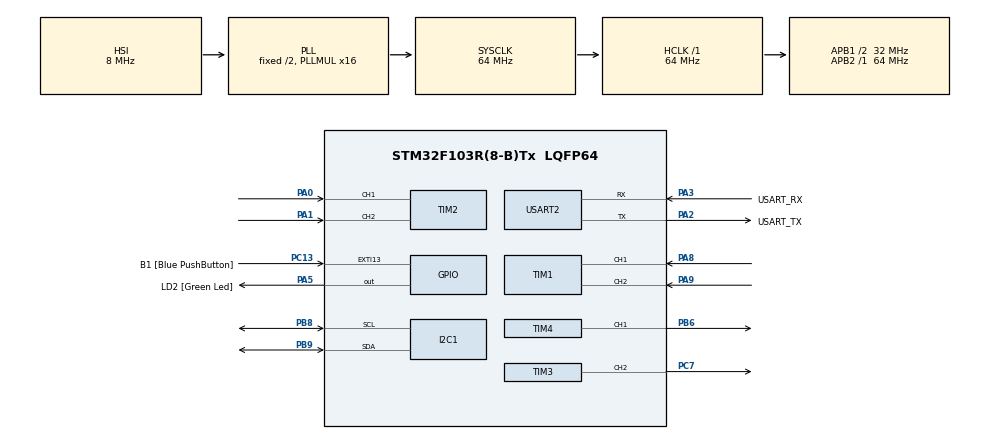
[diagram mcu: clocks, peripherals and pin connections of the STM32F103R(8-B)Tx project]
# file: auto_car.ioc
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Mcu.Family=STM32F1
Mcu.Name=STM32F103R(8-B)Tx
Mcu.Package=LQFP64
NVIC.EXTI15_10_IRQn=true\:0\:0\:false\:false\:true\:true\:true\:true
NVIC.PriorityGroup=NVIC_PRIORITYGROUP_4
NVIC.USART2_IRQn=true\:1\:0\:true\:false\:true\:true\:true\:true
PA0-WKUP.Signal=S_TIM2_CH1_ETR
PA1.Signal=S_TIM2_CH2
PA13.GPIO_Label=TMS
PA13.Mode=Serial_Wire
PA13.Signal=SYS_JTMS-SWDIO
PA14.GPIO_Label=TCK
PA14.Mode=Serial_Wire
PA14.Signal=SYS_JTCK-SWCLK
PA2.GPIO_Label=USART_TX
PA2.GPIO_Mode=GPIO_MODE_AF_PP
PA2.GPIO_Speed=GPIO_SPEED_FREQ_HIGH
PA2.Mode=Asynchronous
PA2.Signal=USART2_TX
PA3.GPIO_Label=USART_RX
PA3.GPIO_Mode=GPIO_MODE_INPUT
PA3.GPIO_PuPd=GPIO_NOPULL
PA3.GPIO_Speed=GPIO_SPEED_FREQ_LOW
PA3.Mode=Asynchronous
PA3.Signal=USART2_RX
PA5.GPIO_Label=LD2 [Green Led]
PA5.GPIO_ModeDefaultOutputPP=GPIO_MODE_OUTPUT_PP
PA5.GPIO_PuPd=GPIO_NOPULL
PA5.GPIO_Speed=GPIO_SPEED_FREQ_LOW
PA5.Signal=GPIO_Output
PA8.Signal=S_TIM1_CH1
PA9.Signal=S_TIM1_CH2
PB3.GPIO_Label=SWO
PB3.Signal=SYS_JTDO-TRACESWO
PB6.Signal=S_TIM4_CH1
PB8.Mode=I2C
PB8.Signal=I2C1_SCL
PB9.Mode=I2C
PB9.Signal=I2C1_SDA
PC13-TAMPER-RTC.GPIO_Label=B1 [Blue PushButton]
PC13-TAMPER-RTC.GPIO_PuPd=GPIO_NOPULL
PC13-TAMPER-RTC.Signal=GPXTI13
PC14-OSC32_IN.Mode=LSE-External-Oscillator
PC14-OSC32_IN.Signal=RCC_OSC32_IN
PC15-OSC32_OUT.Mode=LSE-External-Oscillator
PC15-OSC32_OUT.Signal=RCC_OSC32_OUT
PC7.Signal=S_TIM3_CH2
PD0-OSC_IN.Mode=HSE-External-Clock-Source
PD0-OSC_IN.Signal=RCC_OSC_IN
PD1-OSC_OUT.Mode=HSE-External-Clock-Source
PD1-OSC_OUT.Signal=RCC_OSC_OUT
ProjectManager.HeapSize=0x200
ProjectManager.StackSize=0x400
ProjectManager.TargetToolchain=MDK-ARM V5.32
RCC.AHBFreq_Value=64000000
RCC.APB1CLKDivider=RCC_HCLK_DIV2
RCC.APB1Freq_Value=32000000
RCC.APB1TimFreq_Value=64000000
RCC.APB2Freq_Value=64000000
RCC.APB2TimFreq_Value=64000000
RCC.HCLKFreq_Value=64000000
RCC.PLLMUL=RCC_PLL_MUL16
RCC.RTCClockSelection=RCC_RTCCLKSOURCE_LSE
RCC.SYSCLKFreq_VALUE=64000000
RCC.SYSCLKSource=RCC_SYSCLKSOURCE_PLLCLK
RCC.USBFreq_Value=64000000
SH.S_TIM1_CH1.0=TIM1_CH1,Encoder_Interface
SH.S_TIM1_CH2.0=TIM1_CH2,Encoder_Interface
SH.S_TIM2_CH1_ETR.0=TIM2_CH1,Encoder_Interface
SH.S_TIM2_CH2.0=TIM2_CH2,Encoder_Interface
SH.S_TIM3_CH2.0=TIM3_CH2,PWM Generation2 CH2
SH.S_TIM4_CH1.0=TIM4_CH1,PWM Generation1 CH1
TIM1.EncoderMode=TIM_ENCODERMODE_TI12
TIM2.EncoderMode=TIM_ENCODERMODE_TI12
TIM3.Channel-PWM\ Generation2\ CH2=TIM_CHANNEL_2
TIM3.Period=19999
TIM3.Prescaler=63
TIM3.Pulse-PWM\ Generation2\ CH2=1500
TIM4.Channel-PWM\ Generation1\ CH1=TIM_CHANNEL_1
TIM4.Period=19999
TIM4.Prescaler=63
TIM4.Pulse-PWM\ Generation1\ CH1=1500
USART2.VirtualMode=VM_ASYNC
board=NUCLEO-F103RB

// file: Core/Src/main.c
/* USER CODE BEGIN Header */
/**
  ******************************************************************************
  * @file           : main.c
  * @brief          : Main program body
  ******************************************************************************
  * @attention
  *
  * Copyright (c) 2026 STMicroelectronics.
  * All rights reserved.
  *
  * This software is licensed under terms that can be found in the LICENSE file
  * in the root directory of this software component.
  * If no LICENSE file comes with this software, it is provided AS-IS.
  *
  ******************************************************************************
  */
/* USER CODE END Header */
#include "main.h"

/* USER CODE BEGIN Includes */
#include "stdio.h"
#include "stdlib.h"
#include "string.h"
#include "math.h"
#include "encoder.h"
/* USER CODE END Includes */

/* USER CODE BEGIN PD */
#define ESC_STOP_PULSE_US       1500U
#define SERVO_CENTER_PULSE_US   1500U
#define ESC_MIN_PULSE_US        1300U
#define ESC_MAX_PULSE_US        1700U
#define SERVO_MIN_PULSE_US      1000U
#define SERVO_MAX_PULSE_US      2000U
#define MAX_STEP_PULSE_US       50U
#define BENCH_TIMEOUT_MS        3000U

#define BNO055_I2C_ADDRESS_7BIT  0x28U
#define BNO055_CHIP_ID_REGISTER  0x00U

#define BMP280_I2C_ADDRESS_7BIT  0x76U
#define BMP280_CHIP_ID_REGISTER  0xD0U

#define BNO055_OPR_MODE_REGISTER  0x3DU
#define BNO055_CONFIG_MODE        0x00U
#define BNO055_NDOF_MODE          0x0CU

#define BNO055_EULER_DATA_REGISTER  0x1AU
#define BNO055_EULER_SCALE           16L
#define IMU_OUTPUT_PERIOD_MS         200U

#define BNO055_CALIB_STAT_REGISTER  0x35U
#define CALIB_OUTPUT_PERIOD_MS      1000U

#define BNO055_SYS_STATUS_REGISTER  0x39U
#define BNO055_SYS_ERR_REGISTER     0x3AU

/* Contact-wheel spacing from the supplied encoder project; measure on car. */
#define ODOM_TRACK_WIDTH_M          0.202f
#define ODOM_PI_F                   3.14159265359f
/* USER CODE END PD */

I2C_HandleTypeDef hi2c1;

TIM_HandleTypeDef htim3;
TIM_HandleTypeDef htim4;
TIM_HandleTypeDef htim1;
TIM_HandleTypeDef htim2;

UART_HandleTypeDef huart2;

/* USER CODE BEGIN PV */

static const uint8_t pong_message[] = "PONG\n";

static uint8_t uart_rx_byte = 0U;
static uint8_t uart_line_buffer[32];
static volatile uint8_t uart_line_length = 0U;
static volatile uint8_t uart_line_ready = 0U;
static uint32_t last_led_tick = 0U;

static volatile uint8_t stop_requested = 0U;
static uint8_t bench_command_active = 0U;
static uint32_t last_bench_command_tick = 0U;
static uint16_t current_esc_us = ESC_STOP_PULSE_US;
static uint16_t current_servo_us = SERVO_CENTER_PULSE_US;
static uint8_t imu_stream_enabled = 1U;

static uint32_t last_imu_tick = 0U;

static uint32_t last_calib_tick = 0U;

volatile float robot_x_m = 0.0f;
volatile float robot_y_m = 0.0f;
volatile float robot_theta_rad = 0.0f;
volatile float robot_theta_deg = 0.0f;
volatile float robot_theta_total_deg = 0.0f;
volatile float robot_v_mps = 0.0f;
volatile float robot_omega_rad_s = 0.0f;
static float odom_last_left_m = 0.0f;
static float odom_last_right_m = 0.0f;

/* USER CODE END PV */

void SystemClock_Config(void);
static void MX_GPIO_Init(void);
static void MX_USART2_UART_Init(void);
static void MX_TIM3_Init(void);
static void MX_TIM4_Init(void);
static void MX_I2C1_Init(void);
static void MX_TIM1_Init(void);
static void MX_TIM2_Init(void);
/* USER CODE BEGIN PFP */
static void I2C_Scan(void);
static void Sensor_ReadChipIds(void);
static void BNO055_EnableNDOF(void);
static void BNO055_PrintEuler(void);
static void BNO055_PrintCalibration(void);
static void BNO055_PrintDiagnostics(void);
static void UART_SendString(const char *str);
static void Bench_SetSafeNeutral(void);
static void Bench_PrintStatus(void);
static void Bench_PrintHelp(void);
static void Bench_ProcessCommand(void);
static void Bench_PrintOdometry(void);
static void Odometry_Update(void);
/* USER CODE END PFP */

/* USER CODE BEGIN 0 */
static void BNO055_PrintDiagnostics(void)
{
    static const uint8_t read_error[] =
        "BNO055 DIAGNOSTIC READ ERROR\r\n";

    uint8_t system_data[2];
    uint8_t operation_mode = 0U;
    char message[80];
    int message_length;

    if (HAL_I2C_Mem_Read(
            &hi2c1,
            (uint16_t)(BNO055_I2C_ADDRESS_7BIT << 1U),
            BNO055_SYS_STATUS_REGISTER,
            I2C_MEMADD_SIZE_8BIT,
            system_data,
            2U,
            100U) != HAL_OK)
    {
        (void)HAL_UART_Transmit(
            &huart2,
            (uint8_t *)read_error,
            (uint16_t)(sizeof(read_error) - 1U),
            100U);
        return;
    }

    if (HAL_I2C_Mem_Read(
            &hi2c1,
            (uint16_t)(BNO055_I2C_ADDRESS_7BIT << 1U),
            BNO055_OPR_MODE_REGISTER,
            I2C_MEMADD_SIZE_8BIT,
            &operation_mode,
            1U,
            100U) != HAL_OK)
    {
        (void)HAL_UART_Transmit(
            &huart2,
            (uint8_t *)read_error,
            (uint16_t)(sizeof(read_error) - 1U),
            100U);
        return;
    }

    message_length = snprintf(
        message,
        sizeof(message),
        "MODE=0x%02X SYS_STATUS=%u SYS_ERR=0x%02X\r\n",
        (unsigned int)operation_mode,
        (unsigned int)system_data[0],
        (unsigned int)system_data[1]);

    if ((message_length > 0) &&
        (message_length < (int)sizeof(message)))
    {
        (void)HAL_UART_Transmit(
            &huart2,
            (uint8_t *)message,
            (uint16_t)message_length,
            100U);
    }
}

static void I2C_Scan(void)
{
    static const uint8_t hex_digits[] = "0123456789ABCDEF";
    static const uint8_t done_message[] = "I2C SCAN DONE\r\n";
    static const uint8_t none_message[] = "I2C DEVICE NOT FOUND\r\n";

    uint8_t message[] = "I2C 0x00\r\n";
    uint8_t device_found = 0U;
    uint16_t address;

    for (address = 0x08U; address <= 0x77U; address++)
    {
        if (HAL_I2C_IsDeviceReady(
                &hi2c1,
                (uint16_t)(address << 1U),
                2U,
                20U) == HAL_OK)
        {
            device_found = 1U;

            message[6] = hex_digits[(address >> 4U) & 0x0FU];
            message[7] = hex_digits[address & 0x0FU];

            (void)HAL_UART_Transmit(
                &huart2,
                message,
                (uint16_t)(sizeof(message) - 1U),
                100U);
        }
    }

    if (device_found != 0U)
    {
        (void)HAL_UART_Transmit(
            &huart2,
            done_message,
            (uint16_t)(sizeof(done_message) - 1U),
            100U);
    }
    else
    {
        (void)HAL_UART_Transmit(
            &huart2,
            none_message,
            (uint16_t)(sizeof(none_message) - 1U),
            100U);
    }
}

static void Sensor_ReadChipIds(void)
{
    static const uint8_t hex_digits[] = "0123456789ABCDEF";
    static const uint8_t bno_error[] = "BNO055 READ ERROR\r\n";
    static const uint8_t bmp_error[] = "BMP280 READ ERROR\r\n";

    uint8_t bno_message[] = "BNO055 ID: 0x00\r\n";
    uint8_t bmp_message[] = "BMP280 ID: 0x00\r\n";
    uint8_t chip_id = 0U;

    if (HAL_I2C_Mem_Read(
            &hi2c1,
            (uint16_t)(BNO055_I2C_ADDRESS_7BIT << 1U),
            BNO055_CHIP_ID_REGISTER,
            I2C_MEMADD_SIZE_8BIT,
            &chip_id,
            1U,
            100U) == HAL_OK)
    {
        bno_message[13] = hex_digits[(chip_id >> 4U) & 0x0FU];
        bno_message[14] = hex_digits[chip_id & 0x0FU];

        (void)HAL_UART_Transmit(
            &huart2,
            bno_message,
            (uint16_t)(sizeof(bno_message) - 1U),
            100U);
    }
    else
    {
        (void)HAL_UART_Transmit(
            &huart2,
            bno_error,
            (uint16_t)(sizeof(bno_error) - 1U),
            100U);
    }

    chip_id = 0U;

    if (HAL_I2C_Mem_Read(
            &hi2c1,
            (uint16_t)(BMP280_I2C_ADDRESS_7BIT << 1U),
            BMP280_CHIP_ID_REGISTER,
            I2C_MEMADD_SIZE_8BIT,
            &chip_id,
            1U,
            100U) == HAL_OK)
    {
        bmp_message[13] = hex_digits[(chip_id >> 4U) & 0x0FU];
        bmp_message[14] = hex_digits[chip_id & 0x0FU];

        (void)HAL_UART_Transmit(
            &huart2,
            bmp_message,
            (uint16_t)(sizeof(bmp_message) - 1U),
            100U);
    }
    else
    {
        (void)HAL_UART_Transmit(
            &huart2,
            bmp_error,
            (uint16_t)(sizeof(bmp_error) - 1U),
            100U);
    }
}

static void BNO055_EnableNDOF(void)
{
    static const uint8_t hex_digits[] = "0123456789ABCDEF";
    static const uint8_t write_error[] = "BNO055 MODE WRITE ERROR\r\n";
    static const uint8_t read_error[] = "BNO055 MODE READ ERROR\r\n";

    uint8_t message[] = "BNO055 MODE: 0x00\r\n";
    uint8_t mode = BNO055_CONFIG_MODE;

    if (HAL_I2C_Mem_Write(
            &hi2c1,
            (uint16_t)(BNO055_I2C_ADDRESS_7BIT << 1U),
            BNO055_OPR_MODE_REGISTER,
            I2C_MEMADD_SIZE_8BIT,
            &mode,
            1U,
            100U) != HAL_OK)
    {
        (void)HAL_UART_Transmit(
            &huart2,
            write_error,
            (uint16_t)(sizeof(write_error) - 1U),
            100U);
        return;
    }

    HAL_Delay(20U);

    mode = BNO055_NDOF_MODE;

    if (HAL_I2C_Mem_Write(
            &hi2c1,
            (uint16_t)(BNO055_I2C_ADDRESS_7BIT << 1U),
            BNO055_OPR_MODE_REGISTER,
            I2C_MEMADD_SIZE_8BIT,
            &mode,
            1U,
            100U) != HAL_OK)
    {
        (void)HAL_UART_Transmit(
            &huart2,
            write_error,
            (uint16_t)(sizeof(write_error) - 1U),
            100U);
        return;
    }

    HAL_Delay(10U);

    mode = 0U;

    if (HAL_I2C_Mem_Read(
            &hi2c1,
            (uint16_t)(BNO055_I2C_ADDRESS_7BIT << 1U),
            BNO055_OPR_MODE_REGISTER,
            I2C_MEMADD_SIZE_8BIT,
            &mode,
            1U,
            100U) == HAL_OK)
    {
        message[15] = hex_digits[(mode >> 4U) & 0x0FU];
        message[16] = hex_digits[mode & 0x0FU];

        (void)HAL_UART_Transmit(
            &huart2,
            message,
            (uint16_t)(sizeof(message) - 1U),
            100U);
    }
    else
    {
        (void)HAL_UART_Transmit(
            &huart2,
            read_error,
            (uint16_t)(sizeof(read_error) - 1U),
            100U);
    }
}

static void BNO055_PrintEuler(void)
{
    static const uint8_t read_error[] = "BNO055 EULER READ ERROR\r\n";

    uint8_t data[6];
    int16_t heading_raw;
    int16_t roll_raw;
    int16_t pitch_raw;

    int32_t heading_cdeg;
    int32_t roll_cdeg;
    int32_t pitch_cdeg;

    char message[80];
    int message_length;

    if (HAL_I2C_Mem_Read(
            &hi2c1,
            (uint16_t)(BNO055_I2C_ADDRESS_7BIT << 1U),
            BNO055_EULER_DATA_REGISTER,
            I2C_MEMADD_SIZE_8BIT,
            data,
            6U,
            100U) != HAL_OK)
    {
        (void)HAL_UART_Transmit(
            &huart2,
            (uint8_t *)read_error,
            (uint16_t)(sizeof(read_error) - 1U),
            100U);
        return;
    }

    heading_raw = (int16_t)(
        ((uint16_t)data[1] << 8U) |
        (uint16_t)data[0]);

    roll_raw = (int16_t)(
        ((uint16_t)data[3] << 8U) |
        (uint16_t)data[2]);

    pitch_raw = (int16_t)(
        ((uint16_t)data[5] << 8U) |
        (uint16_t)data[4]);

    /*
     * BNO055 produces 16 LSB per degree.
     * Convert to centidegrees:
     * 12345 means 123.45 degrees.
     */
    heading_cdeg =
        ((int32_t)heading_raw * 100L) / BNO055_EULER_SCALE;

    roll_cdeg =
        ((int32_t)roll_raw * 100L) / BNO055_EULER_SCALE;

    pitch_cdeg =
        ((int32_t)pitch_raw * 100L) / BNO055_EULER_SCALE;

    message_length = snprintf(
        message,
        sizeof(message),
        "H_cdeg=%ld R_cdeg=%ld P_cdeg=%ld\r\n",
        (long)heading_cdeg,
        (long)roll_cdeg,
        (long)pitch_cdeg);

    if ((message_length > 0) &&
        (message_length < (int)sizeof(message)))
    {
        (void)HAL_UART_Transmit(
            &huart2,
            (uint8_t *)message,
            (uint16_t)message_length,
            100U);
    }
}

void HAL_GPIO_EXTI_Callback(uint16_t GPIO_Pin)
{
    if (GPIO_Pin == B1_Pin)
    {
        stop_requested = 1U;
    }
}

void HAL_UART_RxCpltCallback(UART_HandleTypeDef *huart)
{
    if (huart->Instance == USART2)
    {
        if (uart_line_ready == 0U)
        {
            if (uart_rx_byte == (uint8_t)'\n')
            {
                uart_line_ready = 1U;
            }
            else if (uart_rx_byte != (uint8_t)'\r')
            {
                if (uart_line_length < (uint8_t)sizeof(uart_line_buffer))
                {
                    uart_line_buffer[uart_line_length] = uart_rx_byte;
                    uart_line_length++;
                }
                else
                {
                    uart_line_length = 0U;
                }
            }
        }

        if (HAL_UART_Receive_IT(&huart2, &uart_rx_byte, 1U) != HAL_OK)
        {
            Error_Handler();
        }
    }
}

static void BNO055_PrintCalibration(void)
{
    static const uint8_t read_error[] =
        "BNO055 CALIB READ ERROR\r\n";

    uint8_t calib_status = 0U;
    uint8_t system_status;
    uint8_t gyro_status;
    uint8_t accel_status;
    uint8_t mag_status;

    char message[64];
    int message_length;

    if (HAL_I2C_Mem_Read(
            &hi2c1,
            (uint16_t)(BNO055_I2C_ADDRESS_7BIT << 1U),
            BNO055_CALIB_STAT_REGISTER,
            I2C_MEMADD_SIZE_8BIT,
            &calib_status,
            1U,
            100U) != HAL_OK)
    {
        (void)HAL_UART_Transmit(
            &huart2,
            (uint8_t *)read_error,
            (uint16_t)(sizeof(read_error) - 1U),
            100U);
        return;
    }

    system_status = (calib_status >> 6U) & 0x03U;
    gyro_status   = (calib_status >> 4U) & 0x03U;
    accel_status  = (calib_status >> 2U) & 0x03U;
    mag_status    = calib_status & 0x03U;

    message_length = snprintf(
        message,
        sizeof(message),
        "CAL SYS=%u GYR=%u ACC=%u MAG=%u\r\n",
        (unsigned int)system_status,
        (unsigned int)gyro_status,
        (unsigned int)accel_status,
        (unsigned int)mag_status);

    if ((message_length > 0) &&
        (message_length < (int)sizeof(message)))
    {
        (void)HAL_UART_Transmit(
            &huart2,
            (uint8_t *)message,
            (uint16_t)message_length,
            100U);
    }
}

static void UART_SendString(const char *str)
{
    if (str != NULL)
    {
        (void)HAL_UART_Transmit(
            &huart2,
            (uint8_t *)str,
            (uint16_t)strlen(str),
            100U);
    }
}

static void Bench_SetSafeNeutral(void)
{
    current_esc_us = ESC_STOP_PULSE_US;
    current_servo_us = SERVO_CENTER_PULSE_US;
    bench_command_active = 0U;

    __HAL_TIM_SET_COMPARE(&htim4, TIM_CHANNEL_1, ESC_STOP_PULSE_US);
    __HAL_TIM_SET_COMPARE(&htim3, TIM_CHANNEL_2, SERVO_CENTER_PULSE_US);
}

static void Bench_PrintStatus(void)
{
    char message[96];
    int len = snprintf(
        message,
        sizeof(message),
        "STATUS ARMED=%u ESC_US=%u SERVO_US=%u STREAM=%u TIMEOUT_MS=%u\r\n",
        (unsigned int)bench_command_active,
        (unsigned int)current_esc_us,
        (unsigned int)current_servo_us,
        (unsigned int)imu_stream_enabled,
        (unsigned int)BENCH_TIMEOUT_MS);

    if ((len > 0) && (len < (int)sizeof(message)))
    {
        (void)HAL_UART_Transmit(&huart2, (uint8_t *)message, (uint16_t)len, 100U);
    }
}

static void Odometry_Update(void)
{
    float left_m = encoder_left.distance_m;
    float right_m = encoder_right.distance_m;
    float dL = left_m - odom_last_left_m;
    float dR = right_m - odom_last_right_m;
    float ds;
    float dtheta;
    float theta_mid;

    odom_last_left_m = left_m;
    odom_last_right_m = right_m;
    robot_v_mps = (encoder_left.speed_mps + encoder_right.speed_mps) * 0.5f;
    robot_omega_rad_s = (encoder_right.speed_mps - encoder_left.speed_mps) /
                        ODOM_TRACK_WIDTH_M;
    if (dL == 0.0f && dR == 0.0f)
        return;

    ds = (dL + dR) * 0.5f;
    dtheta = (dR - dL) / ODOM_TRACK_WIDTH_M;
    theta_mid = robot_theta_rad + dtheta * 0.5f;
    robot_x_m += ds * cosf(theta_mid);
    robot_y_m += ds * sinf(theta_mid);
    robot_theta_total_deg += dtheta * 180.0f / ODOM_PI_F;
    robot_theta_rad += dtheta;
    while (robot_theta_rad > ODOM_PI_F)
        robot_theta_rad -= 2.0f * ODOM_PI_F;
    while (robot_theta_rad <= -ODOM_PI_F)
        robot_theta_rad += 2.0f * ODOM_PI_F;
    robot_theta_deg = robot_theta_rad * 180.0f / ODOM_PI_F;
}

static void Bench_PrintOdometry(void)
{
    char message[180];
    int message_length = snprintf(
        message, sizeof(message),
        "ODOM L_MMPS=%ld R_MMPS=%ld L_MM=%ld R_MM=%ld X_MM=%ld Y_MM=%ld HEADING_CDEG=%ld TOTAL_CDEG=%ld\r\n",
        (long)(encoder_left.speed_mps * 1000.0f),
        (long)(encoder_right.speed_mps * 1000.0f),
        (long)(encoder_left.distance_m * 1000.0f),
        (long)(encoder_right.distance_m * 1000.0f),
        (long)(robot_x_m * 1000.0f),
        (long)(robot_y_m * 1000.0f),
        (long)(robot_theta_deg * 100.0f),
        (long)(robot_theta_total_deg * 100.0f));
    if ((message_length > 0) && (message_length < (int)sizeof(message)))
        UART_SendString(message);
}

static void Bench_PrintHelp(void)
{
    UART_SendString(
        "BENCH COMMANDS:\r\n"
        "ARM             enable one short test sequence\r\n"
        "ESC <1300..1700> max 50 us change per command\r\n"
        "SERVO <1000..2000> max 50 us change per command\r\n"
        "CENTER          ESC and servo to 1500 us, disarm\r\n"
        "STOP            same as CENTER; always accepted\r\n"
        "STATUS           print current state\r\n"
        "ODOM             print wheel speeds and odometry\r\n"
        "STREAM ON|OFF    enable or mute IMU messages\r\n"
        "HELP             print this list\r\n"
        "Timeout: outputs return to 1500 us after 3000 ms.\r\n");
}

static void Bench_ProcessCommand(void)
{
    char cmd[32];
    uint8_t len = uart_line_length;

    if (len >= sizeof(cmd))
    {
        len = (uint8_t)(sizeof(cmd) - 1U);
    }
    memcpy(cmd, (const void *)uart_line_buffer, len);
    cmd[len] = '\0';

    if (strcmp(cmd, "PING") == 0)
    {
        (void)HAL_UART_Transmit(
            &huart2,
            (uint8_t *)pong_message,
            (uint16_t)(sizeof(pong_message) - 1U),
            100U);
    }
    else if (strcmp(cmd, "HELP") == 0)
    {
        Bench_PrintHelp();
    }
    else if (strcmp(cmd, "STATUS") == 0)
    {
        Bench_PrintStatus();
    }
    else if (strcmp(cmd, "ODOM") == 0)
    {
        Bench_PrintOdometry();
    }
    else if ((strcmp(cmd, "STOP") == 0) || (strcmp(cmd, "CENTER") == 0))
    {
        Bench_SetSafeNeutral();
        UART_SendString("OK SAFE ESC=1500 SERVO=1500 DISARMED\r\n");
    }
    else if (strcmp(cmd, "STREAM ON") == 0)
    {
        imu_stream_enabled = 1U;
        UART_SendString("OK STREAM=1\r\n");
    }
    else if (strcmp(cmd, "STREAM OFF") == 0)
    {
        imu_stream_enabled = 0U;
        UART_SendString("OK STREAM=0\r\n");
    }
    else if (strcmp(cmd, "ARM") == 0)
    {
        if ((current_esc_us != ESC_STOP_PULSE_US) ||
            (current_servo_us != SERVO_CENTER_PULSE_US))
        {
            UART_SendString("ERR CENTER FIRST\r\n");
        }
        else
        {
            bench_command_active = 1U;
            last_bench_command_tick = HAL_GetTick();
            UART_SendString("OK ARMED FOR 3000 ms\r\n");
        }
    }
    else if (strncmp(cmd, "ESC ", 4U) == 0)
    {
        char *endptr = NULL;
        long target = strtol(&cmd[4], &endptr, 10);
        long diff;

        if (bench_command_active == 0U)
        {
            UART_SendString("ERR NOT ARMED\r\n");
        }
        else if ((endptr == &cmd[4]) || (*endptr != '\0') ||
                 (target < (long)ESC_MIN_PULSE_US) ||
                 (target > (long)ESC_MAX_PULSE_US))
        {
            UART_SendString("ERR ESC RANGE 1300..1700\r\n");
        }
        else
        {
            diff = target - (long)current_esc_us;
            if (diff < 0L)
            {
                diff = -diff;
            }
            if (diff > (long)MAX_STEP_PULSE_US)
            {
                UART_SendString("ERR ESC STEP MAX 50 us\r\n");
            }
            else
            {
                current_esc_us = (uint16_t)target;
                __HAL_TIM_SET_COMPARE(&htim4, TIM_CHANNEL_1, current_esc_us);
                last_bench_command_tick = HAL_GetTick();
                Bench_PrintStatus();
            }
        }
    }
    else if (strncmp(cmd, "SERVO ", 6U) == 0)
    {
        char *endptr = NULL;
        long target = strtol(&cmd[6], &endptr, 10);
        long diff;

        if (bench_command_active == 0U)
        {
            UART_SendString("ERR NOT ARMED\r\n");
        }
        else if ((endptr == &cmd[6]) || (*endptr != '\0') ||
                 (target < (long)SERVO_MIN_PULSE_US) ||
                 (target > (long)SERVO_MAX_PULSE_US))
        {
            UART_SendString("ERR SERVO RANGE 1000..2000\r\n");
        }
        else
        {
            diff = target - (long)current_servo_us;
            if (diff < 0L)
            {
                diff = -diff;
            }
            if (diff > (long)MAX_STEP_PULSE_US)
            {
                UART_SendString("ERR SERVO STEP MAX 50 us\r\n");
            }
            else
            {
                current_servo_us = (uint16_t)target;
                __HAL_TIM_SET_COMPARE(&htim3, TIM_CHANNEL_2, current_servo_us);
                last_bench_command_tick = HAL_GetTick();
                Bench_PrintStatus();
            }
        }
    }
    else if (len > 0U)
    {
        UART_SendString("ERR UNKNOWN; SEND HELP\r\n");
    }
}
/* USER CODE END 0 */

int main(void)
{

  /* MCU Configuration--------------------------------------------------------*/

  /* Reset of all peripherals, Initializes the Flash interface and the Systick. */
  HAL_Init();

  /* Configure the system clock */
  SystemClock_Config();

  /* Initialize all configured peripherals */
  MX_GPIO_Init();
  MX_USART2_UART_Init();
  MX_TIM3_Init();
  MX_TIM4_Init();
  MX_I2C1_Init();
  MX_TIM1_Init();
  MX_TIM2_Init();
  /* USER CODE BEGIN 2 */
  if (Encoder_Start(&encoder_left, &htim2, -1) != HAL_OK)
  {
    Error_Handler();
  }
  if (Encoder_Start(&encoder_right, &htim1, 1) != HAL_OK)
  {
    Error_Handler();
  }
	if (HAL_UART_Receive_IT(&huart2, &uart_rx_byte, 1U) != HAL_OK)
	{
    Error_Handler();
	}
	if (HAL_TIM_PWM_Start(&htim3, TIM_CHANNEL_2) != HAL_OK)
	{
    Error_Handler();
	}
  __HAL_TIM_SET_COMPARE(
    &htim3,
    TIM_CHANNEL_2,
    SERVO_CENTER_PULSE_US
  );

	HAL_Delay(700);
	I2C_Scan();
	Sensor_ReadChipIds();
	BNO055_EnableNDOF();

	if (HAL_TIM_PWM_Start(&htim4, TIM_CHANNEL_1) != HAL_OK)
	{
    Error_Handler();
	}
  __HAL_TIM_SET_COMPARE(
    &htim4,
    TIM_CHANNEL_1,
    ESC_STOP_PULSE_US
  );
  /* USER CODE END 2 */

  /* Infinite loop */
	while (1)
	{

    /* USER CODE BEGIN 3 */
    Encoder_Update(&encoder_left);
    Encoder_Update(&encoder_right);
    Odometry_Update();
		if (stop_requested != 0U)
		{
			Bench_SetSafeNeutral();
			stop_requested = 0U;
		}
		else if ((bench_command_active != 0U) &&
         ((HAL_GetTick() - last_bench_command_tick) >= BENCH_TIMEOUT_MS))
		{
			Bench_SetSafeNeutral();
		}

		if ((HAL_GetTick() - last_led_tick) >= 500U)
		{
			last_led_tick = HAL_GetTick();
			HAL_GPIO_TogglePin(LD2_GPIO_Port, LD2_Pin);
		}
		if ((imu_stream_enabled != 0U) &&
		    ((HAL_GetTick() - last_imu_tick) >= IMU_OUTPUT_PERIOD_MS))
		{
			last_imu_tick = HAL_GetTick();
			BNO055_PrintEuler();
		}

		if ((imu_stream_enabled != 0U) &&
		    ((HAL_GetTick() - last_calib_tick) >= CALIB_OUTPUT_PERIOD_MS))
		{
			last_calib_tick = HAL_GetTick();
			BNO055_PrintCalibration();
			BNO055_PrintDiagnostics();
		}

		if (uart_line_ready != 0U)
		{
			Bench_ProcessCommand();
			uart_line_length = 0U;
			uart_line_ready = 0U;
		}
  }
  /* USER CODE END 3 */
}

void SystemClock_Config(void)
{
  RCC_OscInitTypeDef RCC_OscInitStruct = {0};
  RCC_ClkInitTypeDef RCC_ClkInitStruct = {0};

  /** Initializes the RCC Oscillators according to the specified parameters
  * in the RCC_OscInitTypeDef structure.
  */
  RCC_OscInitStruct.OscillatorType = RCC_OSCILLATORTYPE_HSI;
  RCC_OscInitStruct.HSIState = RCC_HSI_ON;
  RCC_OscInitStruct.HSICalibrationValue = RCC_HSICALIBRATION_DEFAULT;
  RCC_OscInitStruct.PLL.PLLState = RCC_PLL_ON;
  RCC_OscInitStruct.PLL.PLLSource = RCC_PLLSOURCE_HSI_DIV2;
  RCC_OscInitStruct.PLL.PLLMUL = RCC_PLL_MUL16;
  if (HAL_RCC_OscConfig(&RCC_OscInitStruct) != HAL_OK)
  {
    Error_Handler();
  }

  /** Initializes the CPU, AHB and APB buses clocks
  */
  RCC_ClkInitStruct.ClockType = RCC_CLOCKTYPE_HCLK|RCC_CLOCKTYPE_SYSCLK
                              |RCC_CLOCKTYPE_PCLK1|RCC_CLOCKTYPE_PCLK2;
  RCC_ClkInitStruct.SYSCLKSource = RCC_SYSCLKSOURCE_PLLCLK;
  RCC_ClkInitStruct.AHBCLKDivider = RCC_SYSCLK_DIV1;
  RCC_ClkInitStruct.APB1CLKDivider = RCC_HCLK_DIV2;
  RCC_ClkInitStruct.APB2CLKDivider = RCC_HCLK_DIV1;

  if (HAL_RCC_ClockConfig(&RCC_ClkInitStruct, FLASH_LATENCY_2) != HAL_OK)
  {
    Error_Handler();
  }
}

static void MX_I2C1_Init(void)
{

  hi2c1.Instance = I2C1;
  hi2c1.Init.ClockSpeed = 100000;
  hi2c1.Init.DutyCycle = I2C_DUTYCYCLE_2;
  hi2c1.Init.OwnAddress1 = 0;
  hi2c1.Init.AddressingMode = I2C_ADDRESSINGMODE_7BIT;
  hi2c1.Init.DualAddressMode = I2C_DUALADDRESS_DISABLE;
  hi2c1.Init.OwnAddress2 = 0;
  hi2c1.Init.GeneralCallMode = I2C_GENERALCALL_DISABLE;
  hi2c1.Init.NoStretchMode = I2C_NOSTRETCH_DISABLE;
  if (HAL_I2C_Init(&hi2c1) != HAL_OK)
  {
    Error_Handler();
  }

}

static void MX_TIM1_Init(void)
{
  TIM_Encoder_InitTypeDef sConfig = {0};

  htim1.Instance = TIM1;
  htim1.Init.Prescaler = 0;
  htim1.Init.CounterMode = TIM_COUNTERMODE_UP;
  htim1.Init.Period = 65535;
  htim1.Init.ClockDivision = TIM_CLOCKDIVISION_DIV1;
  htim1.Init.AutoReloadPreload = TIM_AUTORELOAD_PRELOAD_DISABLE;
  sConfig.EncoderMode = TIM_ENCODERMODE_TI12;
  sConfig.IC1Polarity = TIM_ICPOLARITY_RISING;
  sConfig.IC1Selection = TIM_ICSELECTION_DIRECTTI;
  sConfig.IC1Prescaler = TIM_ICPSC_DIV1;
  sConfig.IC1Filter = 0;
  sConfig.IC2Polarity = TIM_ICPOLARITY_RISING;
  sConfig.IC2Selection = TIM_ICSELECTION_DIRECTTI;
  sConfig.IC2Prescaler = TIM_ICPSC_DIV1;
  sConfig.IC2Filter = 0;
  if (HAL_TIM_Encoder_Init(&htim1, &sConfig) != HAL_OK)
  {
    Error_Handler();
  }
}

static void MX_TIM2_Init(void)
{
  TIM_Encoder_InitTypeDef sConfig = {0};

  htim2.Instance = TIM2;
  htim2.Init.Prescaler = 0;
  htim2.Init.CounterMode = TIM_COUNTERMODE_UP;
  htim2.Init.Period = 65535;
  htim2.Init.ClockDivision = TIM_CLOCKDIVISION_DIV1;
  htim2.Init.AutoReloadPreload = TIM_AUTORELOAD_PRELOAD_DISABLE;
  sConfig.EncoderMode = TIM_ENCODERMODE_TI12;
  sConfig.IC1Polarity = TIM_ICPOLARITY_RISING;
  sConfig.IC1Selection = TIM_ICSELECTION_DIRECTTI;
  sConfig.IC1Prescaler = TIM_ICPSC_DIV1;
  sConfig.IC1Filter = 0;
  sConfig.IC2Polarity = TIM_ICPOLARITY_RISING;
  sConfig.IC2Selection = TIM_ICSELECTION_DIRECTTI;
  sConfig.IC2Prescaler = TIM_ICPSC_DIV1;
  sConfig.IC2Filter = 0;
  if (HAL_TIM_Encoder_Init(&htim2, &sConfig) != HAL_OK)
  {
    Error_Handler();
  }
}

static void MX_TIM3_Init(void)
{

  TIM_MasterConfigTypeDef sMasterConfig = {0};
  TIM_OC_InitTypeDef sConfigOC = {0};

  htim3.Instance = TIM3;
  htim3.Init.Prescaler = 63;
  htim3.Init.CounterMode = TIM_COUNTERMODE_UP;
  htim3.Init.Period = 19999;
  htim3.Init.ClockDivision = TIM_CLOCKDIVISION_DIV1;
  htim3.Init.AutoReloadPreload = TIM_AUTORELOAD_PRELOAD_DISABLE;
  if (HAL_TIM_PWM_Init(&htim3) != HAL_OK)
  {
    Error_Handler();
  }
  sMasterConfig.MasterOutputTrigger = TIM_TRGO_RESET;
  sMasterConfig.MasterSlaveMode = TIM_MASTERSLAVEMODE_DISABLE;
  if (HAL_TIMEx_MasterConfigSynchronization(&htim3, &sMasterConfig) != HAL_OK)
  {
    Error_Handler();
  }
  sConfigOC.OCMode = TIM_OCMODE_PWM1;
  sConfigOC.Pulse = 1500;
  sConfigOC.OCPolarity = TIM_OCPOLARITY_HIGH;
  sConfigOC.OCFastMode = TIM_OCFAST_DISABLE;
  if (HAL_TIM_PWM_ConfigChannel(&htim3, &sConfigOC, TIM_CHANNEL_2) != HAL_OK)
  {
    Error_Handler();
  }
  HAL_TIM_MspPostInit(&htim3);

}

static void MX_TIM4_Init(void)
{

  TIM_MasterConfigTypeDef sMasterConfig = {0};
  TIM_OC_InitTypeDef sConfigOC = {0};

  htim4.Instance = TIM4;
  htim4.Init.Prescaler = 63;
  htim4.Init.CounterMode = TIM_COUNTERMODE_UP;
  htim4.Init.Period = 19999;
  htim4.Init.ClockDivision = TIM_CLOCKDIVISION_DIV1;
  htim4.Init.AutoReloadPreload = TIM_AUTORELOAD_PRELOAD_DISABLE;
  if (HAL_TIM_PWM_Init(&htim4) != HAL_OK)
  {
    Error_Handler();
  }
  sMasterConfig.MasterOutputTrigger = TIM_TRGO_RESET;
  sMasterConfig.MasterSlaveMode = TIM_MASTERSLAVEMODE_DISABLE;
  if (HAL_TIMEx_MasterConfigSynchronization(&htim4, &sMasterConfig) != HAL_OK)
  {
    Error_Handler();
  }
  sConfigOC.OCMode = TIM_OCMODE_PWM1;
  sConfigOC.Pulse = 1500;
  sConfigOC.OCPolarity = TIM_OCPOLARITY_HIGH;
  sConfigOC.OCFastMode = TIM_OCFAST_DISABLE;
  if (HAL_TIM_PWM_ConfigChannel(&htim4, &sConfigOC, TIM_CHANNEL_1) != HAL_OK)
  {
    Error_Handler();
  }
  HAL_TIM_MspPostInit(&htim4);

}

static void MX_USART2_UART_Init(void)
{

  huart2.Instance = USART2;
  huart2.Init.BaudRate = 115200;
  huart2.Init.WordLength = UART_WORDLENGTH_8B;
  huart2.Init.StopBits = UART_STOPBITS_1;
  huart2.Init.Parity = UART_PARITY_NONE;
  huart2.Init.Mode = UART_MODE_TX_RX;
  huart2.Init.HwFlowCtl = UART_HWCONTROL_NONE;
  huart2.Init.OverSampling = UART_OVERSAMPLING_16;
  if (HAL_UART_Init(&huart2) != HAL_OK)
  {
    Error_Handler();
  }

}

static void MX_GPIO_Init(void)
{
  GPIO_InitTypeDef GPIO_InitStruct = {0};

  /* GPIO Ports Clock Enable */
  __HAL_RCC_GPIOC_CLK_ENABLE();
  __HAL_RCC_GPIOD_CLK_ENABLE();
  __HAL_RCC_GPIOA_CLK_ENABLE();
  __HAL_RCC_GPIOB_CLK_ENABLE();

  /*Configure GPIO pin Output Level */
  HAL_GPIO_WritePin(LD2_GPIO_Port, LD2_Pin, GPIO_PIN_RESET);

  /*Configure GPIO pin : B1_Pin */
  GPIO_InitStruct.Pin = B1_Pin;
  GPIO_InitStruct.Mode = GPIO_MODE_IT_RISING;
  GPIO_InitStruct.Pull = GPIO_NOPULL;
  HAL_GPIO_Init(B1_GPIO_Port, &GPIO_InitStruct);

  /*Configure GPIO pin : LD2_Pin */
  GPIO_InitStruct.Pin = LD2_Pin;
  GPIO_InitStruct.Mode = GPIO_MODE_OUTPUT_PP;
  GPIO_InitStruct.Pull = GPIO_NOPULL;
  GPIO_InitStruct.Speed = GPIO_SPEED_FREQ_LOW;
  HAL_GPIO_Init(LD2_GPIO_Port, &GPIO_InitStruct);

  /* EXTI interrupt init*/
  HAL_NVIC_SetPriority(EXTI15_10_IRQn, 0, 0);
  HAL_NVIC_EnableIRQ(EXTI15_10_IRQn);

}

void Error_Handler(void)
{
  __disable_irq();
  while (1)
  {
  }
}
